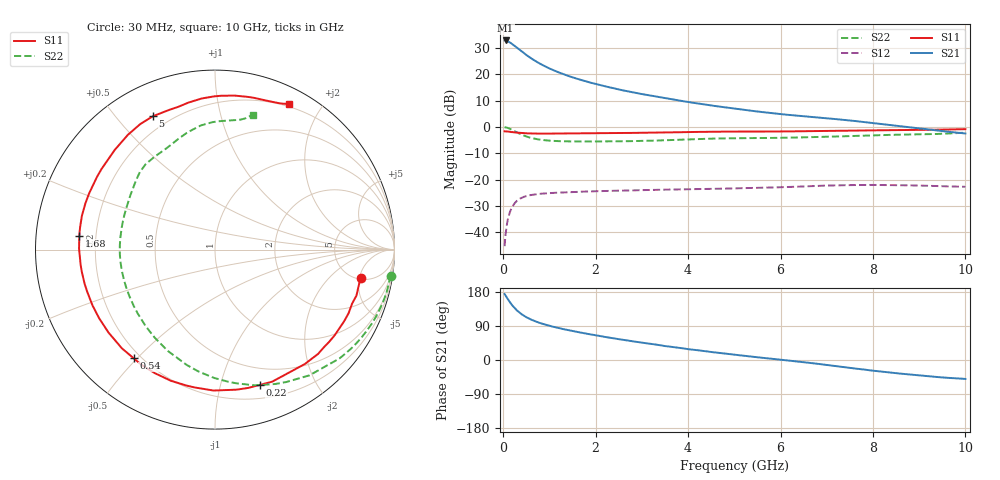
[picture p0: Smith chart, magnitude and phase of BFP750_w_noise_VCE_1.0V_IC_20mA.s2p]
! Infineon Technologies  Discrete & RF Semiconductors
! BFP750
! VCE =  1.0 V,  IC =  20 mA
! Common Emitter S-Parameters:  Jan 2016
# GHz  S  MA  R  50
!  f  S11  S21  S12  S22
! GHz  MAG  ANG  MAG  ANG  MAG  ANG  MAG  ANG
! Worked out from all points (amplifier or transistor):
!   229 points, 30 MHz to 10 GHz, reference 50 ohm
!   highest |S21| = 32.8 dB at 50 MHz (marker M1)
!   |S21| within 3 dB of that: start of sweep to 316 MHz
!   unconditionally stable (mu >= 1): 4.737 GHz to end of sweep
!   at 280 MHz: K = 0.11, MSG = 29.3 dB, |S12| = -28.3 dB
!   at 1.78 GHz: K = 0.52, MSG = 20.9 dB, |S12| = -24.5 dB
!   at 10 GHz: K = 1.14, MAG = 7.8 dB, |S12| = -22.7 dB
!   lowest NFmin = 0.73 dB at 450 MHz
!   S11 on the Smith chart (normalised r, x): 30 MHz: 5.29, -5.24; 220 MHz: 0.33, -1.34; 540 MHz: 0.17, -0.49; 1.68 GHz: 0.14, +0.05; 5 GHz: 0.14, +0.63; 10 GHz: 0.17, +1.62
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0.03  0.8272 -10.9  43.67 174.1  0.0055 83.2  0.9884 -8.4
0.05  0.8287 -18.0  43.7 169.6  0.0092 82.0  0.9854 -14.2
0.08  0.8228 -29.1  42.94 164.3  0.0143 75.5  0.9718 -22.6
0.12  0.8149 -42.2  41.25 156.7  0.0206 69.1  0.9453 -33.4
0.15  0.8105 -51.9  39.9 151.5  0.0251 64.1  0.9212 -41.2
0.22  0.7942 -71.5  36.03 140.9  0.0331 54.6  0.8546 -57.3
0.3  0.7852 -90.6  31.77 130.5  0.04 46.0  0.7879 -73.7
0.36  0.774 -101.8  28.77 124.4  0.0436 40.8  0.7413 -84.0
0.45  0.7657 -116.0  24.96 116.5  0.0475 34.7  0.6865 -97.4
0.54  0.7562 -126.9  21.9 110.7  0.0499 30.1  0.6428 -108.2
0.7  0.7521 -142.1  17.68 101.7  0.0529 24.0  0.5946 -124.4
0.9  0.75 -155.5  14.17 93.7  0.055 19.2  0.5612 -139.2
1.2  0.7525 -169.8  10.83 84.2  0.057 14.6  0.5395 -155.2
1.68  0.7599 174.2  7.81 72.3  0.0593 10.1  0.531 -172.6
1.7  0.7606 173.6  7.716 71.8  0.0594 9.9  0.531 -173.2
2.42  0.7681 156.0  5.338 56.6  0.0618 5.1  0.5334 168.0
3.4  0.7836 137.0  3.645 38.9  0.0646 0.1  0.5561 149.0
5  0.8197 115.0  2.232 13.9  0.0686 -6.5  0.6134 128.9
5.1  0.8189 113.9  2.176 12.7  0.0689 -6.9  0.6136 127.7
6.8  0.8393 97.1  1.516 -10.0  0.0763 -15.2  0.6457 109.4
8.4  0.8702 77.9  1.085 -33.4  0.0792 -27.9  0.7097 91.3
10  0.9096 63.1  0.753 -49.9  0.0735 -37.4  0.7806 74.3
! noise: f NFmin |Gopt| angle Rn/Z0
0.45  0.73  0.04  -167  3.69
0.9  0.75  0.07  -173  0.54
1.5  0.76  0.1  -175  0.25
1.9  0.78  0.15  -172  0.1
2.4  0.82  0.16  -169  0.11
3.5  1.07  0.25  -145  0.07
